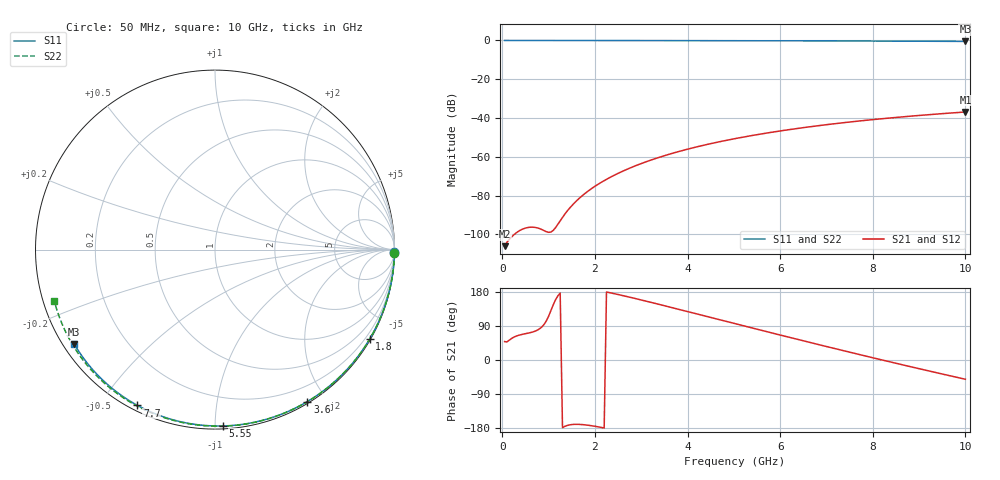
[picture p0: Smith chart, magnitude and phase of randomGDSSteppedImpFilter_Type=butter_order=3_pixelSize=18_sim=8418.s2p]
! freq	dB(S11)	phase(S11)	dB(S12)	phase(S12)
!  dB(S21)	phase(S21)	dB(S22)	phase(S22)
!S-par simulation data
#  GHz  S  DB  R 50
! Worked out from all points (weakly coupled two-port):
!   200 points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, 50 MHz to 10 GHz, reference 50 ohm
!   highest |S21| = -36.89 dB at 10 GHz (marker M1); lowest = -106.1 dB at 50 MHz (marker M2)
!   lowest |S11| = -0.5 dB at 10 GHz (marker M3), VSWR 34.81, Z = 1.57 - j15.2 ohm
!   |S11| at or under -10 dB: nowhere
!   |S22| runs from -0.5 to 0.0 dB; largest |S21 - S12| = 0
!   S11 on the Smith chart (normalised r, x): 50 MHz: open; 1.8 GHz: 0.03, -3.72; 3.6 GHz: 0.02, -1.78; 5.55 GHz: 0.02, -1.05; 7.7 GHz: 0.02, -0.62; 10 GHz: 0.03, -0.30
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0.05  -0.00 -0.9  -106.10 48.6  -106.10 48.6  -0.00 -1.0
0.45  -0.01 -7.6  -97.18 68.2  -97.18 68.2  -0.01 -8.6
0.85  -0.02 -14.4  -97.48 86.8  -97.48 86.8  -0.02 -16.1
1.25  -0.03 -21.0  -92.99 176.5  -92.99 176.5  -0.03 -23.5
1.7  -0.04 -28.5  -80.60 -170.2  -80.60 -170.2  -0.04 -31.8
1.75  -0.04 -29.3  -79.60 -170.7  -79.60 -170.7  -0.04 -32.7
1.8  -0.04 -30.1  -78.65 -171.3  -78.65 -171.3  -0.04 -33.6
2.1  -0.04 -35.0  -73.70 -177.0  -73.70 -177.0  -0.05 -39.1
2.3  -0.05 -38.2  -70.96 178.2  -70.96 178.2  -0.05 -42.7
2.5  -0.05 -41.4  -68.54 172.8  -68.54 172.8  -0.06 -46.2
2.9  -0.06 -47.8  -64.40 161.4  -64.40 161.4  -0.07 -53.3
3.4  -0.07 -55.6  -60.18 146.4  -60.18 146.4  -0.08 -61.9
3.6  -0.08 -58.7  -58.72 140.2  -58.72 140.2  -0.09 -65.3
4.3  -0.10 -69.3  -54.31 118.5  -54.31 118.5  -0.11 -77.0
5.05  -0.12 -80.2  -50.52 95.1  -50.52 95.1  -0.14 -89.0
5.55  -0.14 -87.4  -48.38 79.7  -48.38 79.7  -0.16 -96.8
6.1  -0.17 -95.0  -46.32 62.8  -46.32 62.8  -0.19 -105.2
6.7  -0.20 -103.2  -44.34 44.6  -44.34 44.6  -0.22 -114.2
7.7  -0.27 -116.5  -41.55 14.7  -41.55 14.7  -0.29 -128.8
8.35  -0.32 -124.9  -40.02 -4.3  -40.02 -4.3  -0.35 -138.2
9.2  -0.40 -135.8  -38.29 -28.6  -38.29 -28.6  -0.44 -150.5
10  -0.50 -146.1  -36.89 -50.8  -36.89 -50.8  -0.54 -162.1
